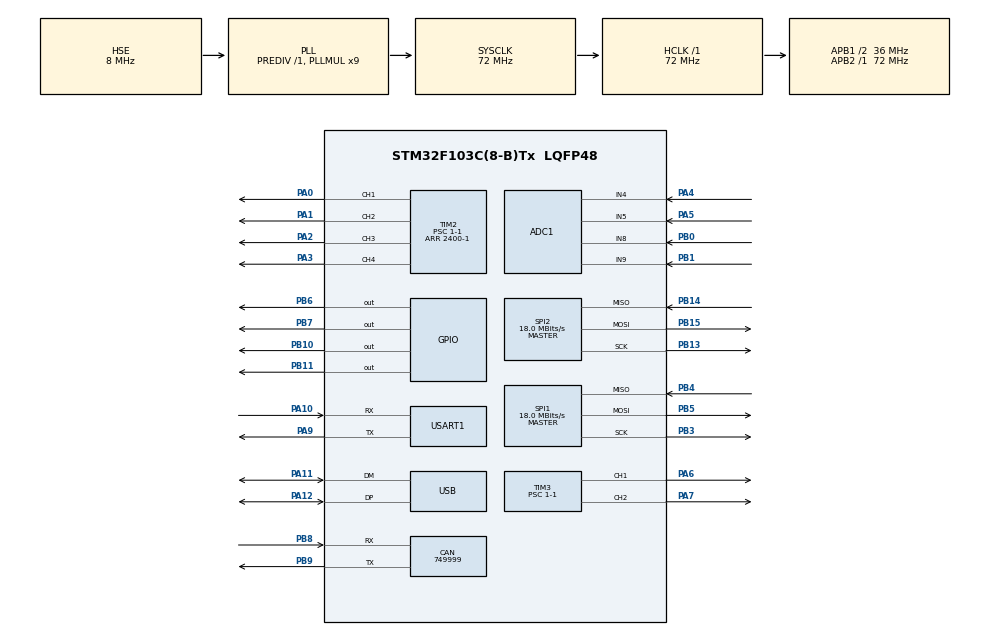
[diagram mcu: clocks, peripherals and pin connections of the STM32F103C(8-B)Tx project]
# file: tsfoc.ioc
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ADC1.Channel-0\#ChannelRegularConversion=ADC_CHANNEL_8
ADC1.Channel-1\#ChannelRegularConversion=ADC_CHANNEL_9
ADC1.Channel-2\#ChannelRegularConversion=ADC_CHANNEL_4
ADC1.Channel-3\#ChannelRegularConversion=ADC_CHANNEL_5
ADC1.ContinuousConvMode=ENABLE
ADC1.NbrOfConversion=4
ADC1.NbrOfConversionFlag=1
ADC1.Rank-0\#ChannelRegularConversion=1
ADC1.Rank-1\#ChannelRegularConversion=2
ADC1.Rank-2\#ChannelRegularConversion=3
ADC1.Rank-3\#ChannelRegularConversion=4
ADC1.SamplingTime-0\#ChannelRegularConversion=ADC_SAMPLETIME_7CYCLES_5
ADC1.SamplingTime-1\#ChannelRegularConversion=ADC_SAMPLETIME_7CYCLES_5
ADC1.SamplingTime-2\#ChannelRegularConversion=ADC_SAMPLETIME_7CYCLES_5
ADC1.SamplingTime-3\#ChannelRegularConversion=ADC_SAMPLETIME_7CYCLES_5
ADC1.master=1
CAN.CalculateBaudRate=749999
CAN.CalculateTimeBit=1333
CAN.CalculateTimeQuantum=444.44444444444446
Dma.ADC1.0.Direction=DMA_PERIPH_TO_MEMORY
Dma.ADC1.0.Instance=DMA1_Channel1
Dma.ADC1.0.MemDataAlignment=DMA_MDATAALIGN_HALFWORD
Dma.ADC1.0.MemInc=DMA_MINC_ENABLE
Dma.ADC1.0.Mode=DMA_CIRCULAR
Dma.ADC1.0.PeriphDataAlignment=DMA_PDATAALIGN_HALFWORD
Dma.ADC1.0.PeriphInc=DMA_PINC_DISABLE
Dma.ADC1.0.Priority=DMA_PRIORITY_MEDIUM
Dma.Request0=ADC1
Dma.Request1=USART1_RX
Dma.Request2=SPI1_TX
Dma.Request3=SPI2_RX
Dma.SPI1_TX.2.Direction=DMA_MEMORY_TO_PERIPH
Dma.SPI1_TX.2.Instance=DMA1_Channel3
Dma.SPI1_TX.2.MemDataAlignment=DMA_MDATAALIGN_BYTE
Dma.SPI1_TX.2.MemInc=DMA_MINC_ENABLE
Dma.SPI1_TX.2.Mode=DMA_NORMAL
Dma.SPI1_TX.2.PeriphDataAlignment=DMA_PDATAALIGN_BYTE
Dma.SPI1_TX.2.PeriphInc=DMA_PINC_DISABLE
Dma.SPI1_TX.2.Priority=DMA_PRIORITY_LOW
Dma.SPI2_RX.3.Direction=DMA_PERIPH_TO_MEMORY
Dma.SPI2_RX.3.Instance=DMA1_Channel4
Dma.SPI2_RX.3.MemDataAlignment=DMA_MDATAALIGN_BYTE
Dma.SPI2_RX.3.MemInc=DMA_MINC_ENABLE
Dma.SPI2_RX.3.Mode=DMA_NORMAL
Dma.SPI2_RX.3.PeriphDataAlignment=DMA_PDATAALIGN_BYTE
Dma.SPI2_RX.3.PeriphInc=DMA_PINC_DISABLE
Dma.SPI2_RX.3.Priority=DMA_PRIORITY_LOW
Dma.USART1_RX.1.Direction=DMA_PERIPH_TO_MEMORY
Dma.USART1_RX.1.Instance=DMA1_Channel5
Dma.USART1_RX.1.MemDataAlignment=DMA_MDATAALIGN_BYTE
Dma.USART1_RX.1.MemInc=DMA_MINC_ENABLE
Dma.USART1_RX.1.Mode=DMA_NORMAL
Dma.USART1_RX.1.PeriphDataAlignment=DMA_PDATAALIGN_BYTE
Dma.USART1_RX.1.PeriphInc=DMA_PINC_DISABLE
Dma.USART1_RX.1.Priority=DMA_PRIORITY_LOW
Mcu.Family=STM32F1
Mcu.Name=STM32F103C(8-B)Tx
Mcu.Package=LQFP48
NVIC.ADC1_2_IRQn=true\:0\:0\:false\:false\:true\:true\:true\:true
NVIC.CAN1_RX1_IRQn=true\:0\:0\:false\:false\:true\:true\:true\:true
NVIC.DMA1_Channel1_IRQn=true\:0\:0\:false\:false\:true\:false\:true\:true
NVIC.DMA1_Channel3_IRQn=true\:0\:0\:false\:false\:true\:false\:true\:true
NVIC.DMA1_Channel4_IRQn=true\:0\:0\:false\:false\:true\:false\:true\:true
NVIC.DMA1_Channel5_IRQn=true\:0\:0\:false\:false\:true\:false\:true\:true
NVIC.PriorityGroup=NVIC_PRIORITYGROUP_4
NVIC.SPI1_IRQn=true\:0\:0\:false\:false\:true\:true\:true\:true
NVIC.SPI2_IRQn=true\:0\:0\:false\:false\:true\:true\:true\:true
NVIC.USART1_IRQn=true\:0\:0\:false\:false\:true\:true\:true\:true
PA0-WKUP.Signal=S_TIM2_CH1_ETR
PA1.Signal=S_TIM2_CH2
PA10.Mode=Asynchronous
PA10.Signal=USART1_RX
PA11.Mode=Device
PA11.Signal=USB_DM
PA12.Mode=Device
PA12.Signal=USB_DP
PA2.Signal=S_TIM2_CH3
PA3.Signal=S_TIM2_CH4
PA4.Signal=ADCx_IN4
PA5.Signal=ADCx_IN5
PA6.Signal=S_TIM3_CH1
PA7.Signal=S_TIM3_CH2
PA9.Mode=Asynchronous
PA9.Signal=USART1_TX
PB0.Signal=ADCx_IN8
PB1.Signal=ADCx_IN9
PB10.GPIO_ModeDefaultOutputPP=GPIO_MODE_OUTPUT_OD
PB10.GPIO_PuPd=GPIO_NOPULL
PB10.GPIO_Speed=GPIO_SPEED_FREQ_HIGH
PB10.Signal=GPIO_Output
PB11.GPIO_ModeDefaultOutputPP=GPIO_MODE_OUTPUT_OD
PB11.GPIO_PuPd=GPIO_NOPULL
PB11.GPIO_Speed=GPIO_SPEED_FREQ_HIGH
PB11.Signal=GPIO_Output
PB13.Mode=Full_Duplex_Master
PB13.Signal=SPI2_SCK
PB14.Mode=Full_Duplex_Master
PB14.Signal=SPI2_MISO
PB15.Mode=Full_Duplex_Master
PB15.Signal=SPI2_MOSI
PB3.Mode=Full_Duplex_Master
PB3.Signal=SPI1_SCK
PB4.Mode=Full_Duplex_Master
PB4.Signal=SPI1_MISO
PB5.Mode=Full_Duplex_Master
PB5.Signal=SPI1_MOSI
PB6.GPIO_ModeDefaultOutputPP=GPIO_MODE_OUTPUT_OD
PB6.GPIO_PuPd=GPIO_NOPULL
PB6.GPIO_Speed=GPIO_SPEED_FREQ_HIGH
PB6.Signal=GPIO_Output
PB7.GPIO_ModeDefaultOutputPP=GPIO_MODE_OUTPUT_OD
PB7.GPIO_PuPd=GPIO_NOPULL
PB7.GPIO_Speed=GPIO_SPEED_FREQ_HIGH
PB7.Signal=GPIO_Output
PB8.Mode=CAN_Activate
PB8.Signal=CAN_RX
PB9.Mode=CAN_Activate
PB9.Signal=CAN_TX
PD0-OSC_IN.Mode=HSE-External-Oscillator
PD0-OSC_IN.Signal=RCC_OSC_IN
PD1-OSC_OUT.Mode=HSE-External-Oscillator
PD1-OSC_OUT.Signal=RCC_OSC_OUT
ProjectManager.HeapSize=0x800
ProjectManager.StackSize=0x1600
ProjectManager.TargetToolchain=MDK-ARM V5.32
RCC.ADCPresc=RCC_ADCPCLK2_DIV6
RCC.AHBFreq_Value=72000000
RCC.APB1CLKDivider=RCC_HCLK_DIV2
RCC.APB1Freq_Value=36000000
RCC.APB1TimFreq_Value=72000000
RCC.APB2Freq_Value=72000000
RCC.APB2TimFreq_Value=72000000
RCC.HCLKFreq_Value=72000000
RCC.PLLMUL=RCC_PLL_MUL9
RCC.PLLSourceVirtual=RCC_PLLSOURCE_HSE
RCC.SYSCLKFreq_VALUE=72000000
RCC.SYSCLKSource=RCC_SYSCLKSOURCE_PLLCLK
RCC.USBFreq_Value=48000000
RCC.USBPrescaler=RCC_USBCLKSOURCE_PLL_DIV1_5
SH.ADCx_IN4.0=ADC1_IN4,IN4
SH.ADCx_IN5.0=ADC1_IN5,IN5
SH.ADCx_IN8.0=ADC1_IN8,IN8
SH.ADCx_IN9.0=ADC1_IN9,IN9
SH.S_TIM2_CH1_ETR.0=TIM2_CH1,PWM Generation1 CH1
SH.S_TIM2_CH2.0=TIM2_CH2,PWM Generation2 CH2
SH.S_TIM2_CH3.0=TIM2_CH3,PWM Generation3 CH3
SH.S_TIM2_CH4.0=TIM2_CH4,PWM Generation4 CH4
SH.S_TIM3_CH1.0=TIM3_CH1,PWM Generation1 CH1
SH.S_TIM3_CH2.0=TIM3_CH2,PWM Generation2 CH2
SPI1.BaudRatePrescaler=SPI_BAUDRATEPRESCALER_4
SPI1.CalculateBaudRate=18.0 MBits/s
SPI1.Direction=SPI_DIRECTION_2LINES
SPI1.Mode=SPI_MODE_MASTER
SPI1.VirtualType=VM_MASTER
SPI2.CalculateBaudRate=18.0 MBits/s
SPI2.Direction=SPI_DIRECTION_2LINES
SPI2.Mode=SPI_MODE_MASTER
SPI2.VirtualType=VM_MASTER
TIM2.AutoReloadPreload=TIM_AUTORELOAD_PRELOAD_ENABLE
TIM2.Channel-PWM\ Generation1\ CH1=TIM_CHANNEL_1
TIM2.Channel-PWM\ Generation2\ CH2=TIM_CHANNEL_2
TIM2.Channel-PWM\ Generation3\ CH3=TIM_CHANNEL_3
TIM2.Channel-PWM\ Generation4\ CH4=TIM_CHANNEL_4
TIM2.Period=2400-1
TIM2.Prescaler=1-1
TIM3.AutoReloadPreload=TIM_AUTORELOAD_PRELOAD_ENABLE
TIM3.Channel-PWM\ Generation1\ CH1=TIM_CHANNEL_1
TIM3.Channel-PWM\ Generation2\ CH2=TIM_CHANNEL_2
TIM3.Period=2400-1
TIM3.Prescaler=1-1
USART1.VirtualMode=VM_ASYNC
VP_SYS_VS_ND.Mode=No_Debug
board=custom

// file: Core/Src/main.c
/* USER CODE BEGIN Header */
/**
  ******************************************************************************
  * @file           : main.c
  * @brief          : Main program body
  ******************************************************************************
  * @attention
  *
  * Copyright (c) 2024 STMicroelectronics.
  * All rights reserved.
  *
  * This software is licensed under terms that can be found in the LICENSE file
  * in the root directory of this software component.
  * If no LICENSE file comes with this software, it is provided AS-IS.
  *
  ******************************************************************************
  */
/* USER CODE END Header */
#include "main.h"
#include "adc.h"
#include "can.h"
#include "dma.h"
#include "spi.h"
#include "tim.h"
#include "usart.h"
#include "usb.h"
#include "gpio.h"

/* USER CODE BEGIN Includes */

#include "ts_foc.h"
#include "user_api.h"

/* USER CODE END Includes */

/* USER CODE BEGIN PTD */
//Serial port redirection
#ifdef __GNUC__
#define PUTCHAR_PROTOTYPE int __io_putchar(int ch)
#else
#define PUTCHAR_PROTOTYPE int fputc(int ch, FILE *f)
#endif
PUTCHAR_PROTOTYPE
{
    HAL_UART_Transmit(&huart1 , (uint8_t *)&ch, 1, 0xFFFF);
    return ch;
}
/* USER CODE END PTD */

void SystemClock_Config(void);

/* USER CODE BEGIN 0 */
float target_angle1 = 0,target_angle2 = 0;
/* USER CODE END 0 */

int main(void)
{

  /* MCU Configuration--------------------------------------------------------*/

  /* Reset of all peripherals, Initializes the Flash interface and the Systick. */
  HAL_Init();

  /* Configure the system clock */
  SystemClock_Config();

  /* Initialize all configured peripherals */
  MX_GPIO_Init();
  MX_DMA_Init();
  MX_ADC1_Init();
  MX_USART1_UART_Init();
  MX_CAN_Init();
  MX_SPI1_Init();
  MX_TIM2_Init();
  MX_TIM3_Init();
  MX_USB_PCD_Init();
  MX_SPI2_Init();
  /* USER CODE BEGIN 2 */
  HAL_ADCEx_Calibration_Start(&hadc1);
  HAL_ADC_Start_DMA(&hadc1,(uint32_t *)Samp_volts, 4); // 启动 ADC DMA 传输

  HAL_TIM_PWM_Start(&htim2,TIM_CHANNEL_1);              //使能PWM
  HAL_TIM_PWM_Start(&htim2,TIM_CHANNEL_2);
  HAL_TIM_PWM_Start(&htim2,TIM_CHANNEL_3);
  HAL_TIM_PWM_Start(&htim2,TIM_CHANNEL_4);
  HAL_TIM_PWM_Start(&htim3,TIM_CHANNEL_1);
  HAL_TIM_PWM_Start(&htim3,TIM_CHANNEL_2);

  HAL_Delay(2000);

  Motor* Motor1 = (Motor*)malloc(sizeof(Motor)*1);
  Motor1->As5600_Sensor = (As5600_Sensor_Typedef*) malloc(sizeof(As5600_Sensor_Typedef)*1);
  Motor1->Pid_Vel = (Pid_Typedef*) malloc(sizeof(Pid_Typedef)*1);
  Motor1->Pid_Ang = (Pid_Typedef*) malloc(sizeof(Pid_Typedef)*1);
  Motor1->Pid_Curr = (Pid_Typedef*) malloc(sizeof(Pid_Typedef)*1);
  Motor1->Lowpass_Filter_Vel = (Lowpass_Filter_Typedef*) malloc(sizeof(Lowpass_Filter_Typedef)*1);
  Motor1->Lowpass_Filter_Curr = (Lowpass_Filter_Typedef*) malloc(sizeof(Lowpass_Filter_Typedef)*1);
  Motor1->Inlinecurrent = (Inlinecurrent_Typedef *) malloc(sizeof(Inlinecurrent_Typedef)*1);
  Motor1->Inlinecurrent->A = 0;
  Motor1->Inlinecurrent->B = 1;
  Motor1->Ualpha = Motor1->Ubeta = Motor1->Ua = Motor1->Ub = Motor1->Uc = 0;
  Motor1->Motor_ID = 1;
  Motor1->voltage_power_supply = 12.;
  Motor1->PP = 7;
  Motor1->DIR = 1;
  Motor1->zero_electric_angle = 0;
  Motor1->As5600_Sensor->Port = GPIOB;
  Motor1->As5600_Sensor->SCL_PIN = GPIO_PIN_10;
  Motor1->As5600_Sensor->SDA_PIN = GPIO_PIN_11;
  Motor1->Motor_Set_Compare1 = Motor1_Set_Compare1;
  Motor1->Motor_Set_Compare2 = Motor1_Set_Compare2;
  Motor1->Motor_Set_Compare3 = Motor1_Set_Compare3;
  Pid_Ang_Init(Motor1->Pid_Ang,1,0,0,100000,10);
  Pid_Vel_Init(Motor1->Pid_Vel,0.02,1,0,100000,0.1);
  Pid_Curr_Init(Motor1->Pid_Curr,5,200,0.00,100000,12.6);
  Lowpass_Filter_Init(Motor1->Lowpass_Filter_Vel, 0.01);
  Lowpass_Filter_Init(Motor1->Lowpass_Filter_Curr, 0.05);

  Motor* Motor2 = (Motor*)malloc(sizeof(Motor)*1);
  Motor2->As5600_Sensor = (As5600_Sensor_Typedef*) malloc(sizeof(As5600_Sensor_Typedef)*1);
  Motor2->Pid_Vel = (Pid_Typedef*) malloc(sizeof(Pid_Typedef)*1);
  Motor2->Pid_Ang = (Pid_Typedef*) malloc(sizeof(Pid_Typedef)*1);
  Motor2->Pid_Curr = (Pid_Typedef*) malloc(sizeof(Pid_Typedef)*1);
  Motor2->Lowpass_Filter_Vel = (Lowpass_Filter_Typedef*) malloc(sizeof(Lowpass_Filter_Typedef)*1);
  Motor2->Lowpass_Filter_Curr = (Lowpass_Filter_Typedef*) malloc(sizeof(Lowpass_Filter_Typedef)*1);
  Motor2->Inlinecurrent = (Inlinecurrent_Typedef *) malloc(sizeof(Inlinecurrent_Typedef)*1);
  Motor2->Inlinecurrent->A = 2;
  Motor2->Inlinecurrent->B = 3;
  Motor2->Ualpha = Motor2->Ubeta = Motor2->Ua = Motor2->Ub = Motor2->Uc = 0;
  Motor2->Motor_ID = 2;
  Motor2->voltage_power_supply = 12.;
  Motor2->PP = 7;
  Motor2->DIR = 1;
  Motor2->zero_electric_angle = 0;
  Motor2->As5600_Sensor->Port = GPIOB;
  Motor2->As5600_Sensor->SCL_PIN = GPIO_PIN_6;
  Motor2->As5600_Sensor->SDA_PIN = GPIO_PIN_7;
  Motor2->Motor_Set_Compare1 = Motor2_Set_Compare1;
  Motor2->Motor_Set_Compare2 = Motor2_Set_Compare2;
  Motor2->Motor_Set_Compare3 = Motor2_Set_Compare3;
  Pid_Ang_Init(Motor2->Pid_Ang,1,0,0,100000,10);
  Pid_Vel_Init(Motor2->Pid_Vel,0.02,1,0,100000,0.1);
  Pid_Curr_Init(Motor2->Pid_Curr,5,200,0,100000,12.6);
  Lowpass_Filter_Init(Motor2->Lowpass_Filter_Vel, 0.01);
  Lowpass_Filter_Init(Motor2->Lowpass_Filter_Curr, 0.05);

  HAL_Delay(1000);

  //初始化as5600
  AS5600_Init(Motor1->As5600_Sensor);
  AS5600_Init(Motor2->As5600_Sensor);
  CurrSense_Init(Motor1->Inlinecurrent);
  CurrSense_Init(Motor2->Inlinecurrent);

  aligns_Motor_Zero_Angle(Motor1);
  aligns_Motor_Zero_Angle(Motor2);

  printf("everythin_init_ok\r\n");

  /* USER CODE END 2 */

  /* Infinite loop */
  /* USER CODE BEGIN WHILE */
  HAL_Delay(1000);

  while (1)
  {

    AS5600_Sensor_update(Motor1->As5600_Sensor);
    AS5600_Sensor_update(Motor2->As5600_Sensor);
    Current_Update(Motor1->Inlinecurrent);
    Current_Update(Motor2->Inlinecurrent);
    Get_Cmd(&huart1);

    // Set_Velocity(Motor1,target_angle1);
    // Set_Velocity(Motor2,target_angle1);

    // Set_Force_Angle(Motor1,target_angle1);
    // Set_Force_Angle(Motor2,target_angle1);

    // setTorque_with_Curr(Motor1,target_angle1);
    // setTorque_with_Curr(Motor2,target_angle1);

    set_Velocity_Angle_Curr(Motor1,target_angle1);
    set_Velocity_Angle_Curr(Motor2,target_angle1);

      // 调试信息打印
      // printf("%.4f,%.4f\r\n",Motor1->Inlinecurrent->I_Q,Motor2->Inlinecurrent->I_Q);
      // printf("%d,%d,%d,%d\r\n",Samp_volts[0],Samp_volts[1],Samp_volts[2],Samp_volts[3]);
      printf("%.2f,%.2f,%.2f\r\n",target_angle1,AS5600_getAngle(Motor1->As5600_Sensor),AS5600_getAngle(Motor2->As5600_Sensor));

    /* USER CODE END WHILE */

  }
}

void SystemClock_Config(void)
{
  RCC_OscInitTypeDef RCC_OscInitStruct = {0};
  RCC_ClkInitTypeDef RCC_ClkInitStruct = {0};
  RCC_PeriphCLKInitTypeDef PeriphClkInit = {0};

  /** Initializes the RCC Oscillators according to the specified parameters
  * in the RCC_OscInitTypeDef structure.
  */
  RCC_OscInitStruct.OscillatorType = RCC_OSCILLATORTYPE_HSE;
  RCC_OscInitStruct.HSEState = RCC_HSE_ON;
  RCC_OscInitStruct.HSEPredivValue = RCC_HSE_PREDIV_DIV1;
  RCC_OscInitStruct.HSIState = RCC_HSI_ON;
  RCC_OscInitStruct.PLL.PLLState = RCC_PLL_ON;
  RCC_OscInitStruct.PLL.PLLSource = RCC_PLLSOURCE_HSE;
  RCC_OscInitStruct.PLL.PLLMUL = RCC_PLL_MUL9;
  if (HAL_RCC_OscConfig(&RCC_OscInitStruct) != HAL_OK)
  {
    Error_Handler();
  }

  /** Initializes the CPU, AHB and APB buses clocks
  */
  RCC_ClkInitStruct.ClockType = RCC_CLOCKTYPE_HCLK|RCC_CLOCKTYPE_SYSCLK
                              |RCC_CLOCKTYPE_PCLK1|RCC_CLOCKTYPE_PCLK2;
  RCC_ClkInitStruct.SYSCLKSource = RCC_SYSCLKSOURCE_PLLCLK;
  RCC_ClkInitStruct.AHBCLKDivider = RCC_SYSCLK_DIV1;
  RCC_ClkInitStruct.APB1CLKDivider = RCC_HCLK_DIV2;
  RCC_ClkInitStruct.APB2CLKDivider = RCC_HCLK_DIV1;

  if (HAL_RCC_ClockConfig(&RCC_ClkInitStruct, FLASH_LATENCY_2) != HAL_OK)
  {
    Error_Handler();
  }
  PeriphClkInit.PeriphClockSelection = RCC_PERIPHCLK_ADC|RCC_PERIPHCLK_USB;
  PeriphClkInit.AdcClockSelection = RCC_ADCPCLK2_DIV6;
  PeriphClkInit.UsbClockSelection = RCC_USBCLKSOURCE_PLL_DIV1_5;
  if (HAL_RCCEx_PeriphCLKConfig(&PeriphClkInit) != HAL_OK)
  {
    Error_Handler();
  }
}

void Error_Handler(void)
{
  __disable_irq();
  while (1)
  {
  }
}
